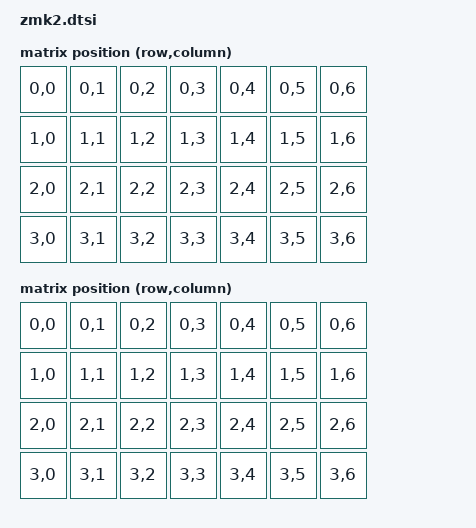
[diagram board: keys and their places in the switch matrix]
#include <dt-bindings/zmk/matrix_transform.h>

/ {
    /* Central (LEFT) pusė */
    matrix_transform_left: matrix_transform_left {
        compatible = "zmk,matrix-transform";
        rows = <4>;
        columns = <7>;
        map = <
            RC(0,0) RC(0,1) RC(0,2) RC(0,3) RC(0,4) RC(0,5) RC(0,6)
            RC(1,0) RC(1,1) RC(1,2) RC(1,3) RC(1,4) RC(1,5) RC(1,6)
            RC(2,0) RC(2,1) RC(2,2) RC(2,3) RC(2,4) RC(2,5) RC(2,6)
            RC(3,0) RC(3,1) RC(3,2) RC(3,3) RC(3,4) RC(3,5) RC(3,6)
        >;
    };

    /* Peripheral (RIGHT) pusė */
    matrix_transform_right: matrix_transform_right {
        compatible = "zmk,matrix-transform";
        rows = <4>;
        columns = <7>;
        col-offset = <7>; /* shift columns to right half */
        map = <
            RC(0,0) RC(0,1) RC(0,2) RC(0,3) RC(0,4) RC(0,5) RC(0,6)
            RC(1,0) RC(1,1) RC(1,2) RC(1,3) RC(1,4) RC(1,5) RC(1,6)
            RC(2,0) RC(2,1) RC(2,2) RC(2,3) RC(2,4) RC(2,5) RC(2,6)
            RC(3,0) RC(3,1) RC(3,2) RC(3,3) RC(3,4) RC(3,5) RC(3,6)
        >;
    };
};

/* LEFT (central) overlay priskiria transformą */
&physical_layout_zmk2 {
    transform = <&matrix_transform_left>;
};

/* RIGHT (peripheral) overlay priskiria transformą */
&physical_layout_zmk2 {
    transform = <&matrix_transform_right>;
};
